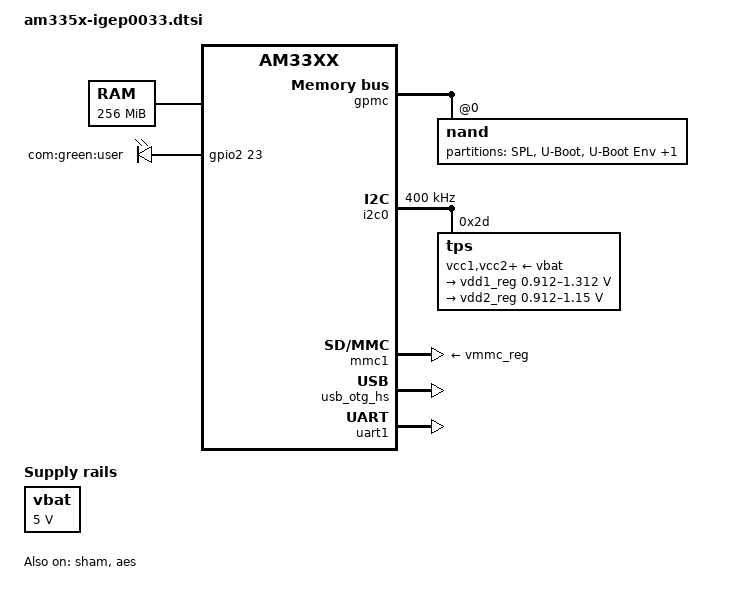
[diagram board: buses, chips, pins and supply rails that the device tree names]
/*
 * am335x-igep0033.dtsi - Device Tree file for IGEP COM AQUILA AM335x
 *
 * Copyright (C) 2013 ISEE 2007 SL - http://www.isee.biz
 *
 * This program is free software; you can redistribute it and/or modify
 * it under the terms of the GNU General Public License version 2 as
 * published by the Free Software Foundation.
 */

/dts-v1/;

/include/ "am33xx.dtsi"

/ {
	cpus {
		cpu@0 {
			cpu0-supply = <&vdd1_reg>;
		};
	};

	memory {
		device_type = "memory";
		reg = <0x80000000 0x10000000>; /* 256 MB */
	};

	leds {
		pinctrl-names = "default";
		pinctrl-0 = <&leds_pins>;

		compatible = "gpio-leds";

		led@0 {
			label = "com:green:user";
			gpios = <&gpio2 23 0>;
			default-state = "on";
		};
	};

	vbat: fixedregulator@0 {
		compatible = "regulator-fixed";
		regulator-name = "vbat";
		regulator-min-microvolt = <5000000>;
		regulator-max-microvolt = <5000000>;
		regulator-boot-on;
	};
};

&am33xx_pinmux {
	i2c0_pins: pinmux_i2c0_pins {
		pinctrl-single,pins = <
			0x188 0x70 	/* i2c0_sda, SLEWCTRL_SLOW | INPUT_PULLUP | MODE0 */
			0x18c 0x70	/* i2c0_scl, SLEWCTRL_SLOW | INPUT_PULLUP | MODE0 */
		>;
	};

	leds_pins: pinmux_leds_pins {
		pinctrl-single,pins = <
			0x5c  0x7	/* gpmc_a7.gpio1_23, OUTPUT | MODE7 */
		>;
	};
};

&cpu {
	/*
	 * To consider voltage drop between PMIC and SoC,
	 * tolerance value is reduced to 2% from 4% and
	 * voltage value is increased as a precaution.
	 */
	operating-points = <
		/* kHz    uV */
		1000000	1350000
		800000	1300000
		600000  1112000
		300000   969000
	>;
};

&cpsw_emac0 {
	phy_id = <&davinci_mdio>, <0>;
};

&cpsw_emac1 {
	phy_id = <&davinci_mdio>, <1>;
};

&gpmc {
	status = "okay";

	ranges = <0 0 0x08000000 0x10000000>;	/* CS0: NAND */

	nand@0,0 {
		reg = <0 0 0>; /* CS0, offset 0 */
		nand-bus-width = <8>;
		ti,nand-ecc-opt = "bch8";
		gpmc,device-nand = "true";
		gpmc,device-width = <1>;
		gpmc,sync-clk-ps = <0>;
		gpmc,cs-on-ns = <0>;
		gpmc,cs-rd-off-ns = <44>;
		gpmc,cs-wr-off-ns = <44>;
		gpmc,adv-on-ns = <6>;
		gpmc,adv-rd-off-ns = <34>;
		gpmc,adv-wr-off-ns = <44>;
		gpmc,we-on-ns = <0>;
		gpmc,we-off-ns = <40>;
		gpmc,oe-on-ns = <0>;
		gpmc,oe-off-ns = <54>;
		gpmc,access-ns = <64>;
		gpmc,rd-cycle-ns = <82>;
		gpmc,wr-cycle-ns = <82>;
		gpmc,wait-on-read = "true";
		gpmc,wait-on-write = "true";
		gpmc,bus-turnaround-ns = <0>;
		gpmc,cycle2cycle-delay-ns = <0>;
		gpmc,clk-activation-ns = <0>;
		gpmc,wait-monitoring-ns = <0>;
		gpmc,wr-access-ns = <40>;
		gpmc,wr-data-mux-bus-ns = <0>;

		#address-cells = <1>;
		#size-cells = <1>;
		/* elm_id = <&elm>; */

		/* MTD partition table */
		partition@0 {
			label = "SPL";
			reg = <0x00000000 0x00080000>; /* 512KiB */
		};

		partition@1 {
			label = "U-Boot";
			reg = <0x00080000 0x00100000>; /* 1MiB */
		};

		partition@2 {
			label = "U-Boot Env";
			reg = <0x00180000 0x00020000>; /* 128KiB */
		};

		partition@3 {
			label = "File System";
			reg = <0x001C0000 0x007E40000>;
		};
	};
};

&i2c0 {
	status = "okay";
	pinctrl-names = "default";
	pinctrl-0 = <&i2c0_pins>;

	clock-frequency = <400000>;

	tps: tps@2d {
		reg = <0x2d>;
	};
};

&mmc1 {
	status = "okay";
	vmmc-supply = <&vmmc_reg>;
	ti,vcc-aux-disable-is-sleep;
};

&sham {
	status = "okay";
};

&aes {
	status = "okay";
};

&usb_otg_hs {
	interface_type = <1>;
	power = <250>;
	status = "okay";
};

&uart1 {
	status = "okay";
};

/include/ "tps65910.dtsi"

&tps {
	vcc1-supply = <&vbat>;
	vcc2-supply = <&vbat>;
	vcc3-supply = <&vbat>;
	vcc4-supply = <&vbat>;
	vcc5-supply = <&vbat>;
	vcc6-supply = <&vbat>;
	vcc7-supply = <&vbat>;
	vccio-supply = <&vbat>;

	regulators {
		vrtc_reg: regulator@0 {
			regulator-always-on;
		};

		vio_reg: regulator@1 {
			regulator-always-on;
		};

		vdd1_reg: regulator@2 {
			/* VDD_MPU voltage limits 0.95V - 1.26V with +/-4% tolerance */
			regulator-name = "vdd_mpu";
			regulator-min-microvolt = <912500>;
			regulator-max-microvolt = <1312500>;
			regulator-boot-on;
			regulator-always-on;
		};

		vdd2_reg: regulator@3 {
			/* VDD_CORE voltage limits 0.95V - 1.1V with +/-4% tolerance */
			regulator-name = "vdd_core";
			regulator-min-microvolt = <912500>;
			regulator-max-microvolt = <1150000>;
			regulator-boot-on;
			regulator-always-on;
		};

		vdd3_reg: regulator@4 {
			regulator-always-on;
		};

		vdig1_reg: regulator@5 {
			regulator-always-on;
		};

		vdig2_reg: regulator@6 {
			regulator-always-on;
		};

		vpll_reg: regulator@7 {
			regulator-always-on;
		};

		vdac_reg: regulator@8 {
			regulator-always-on;
		};

		vaux1_reg: regulator@9 {
			regulator-always-on;
		};

		vaux2_reg: regulator@10 {
			regulator-always-on;
		};

		vaux33_reg: regulator@11 {
			regulator-always-on;
		};

		vmmc_reg: regulator@12 {
			regulator-always-on;
		};
	};
};

